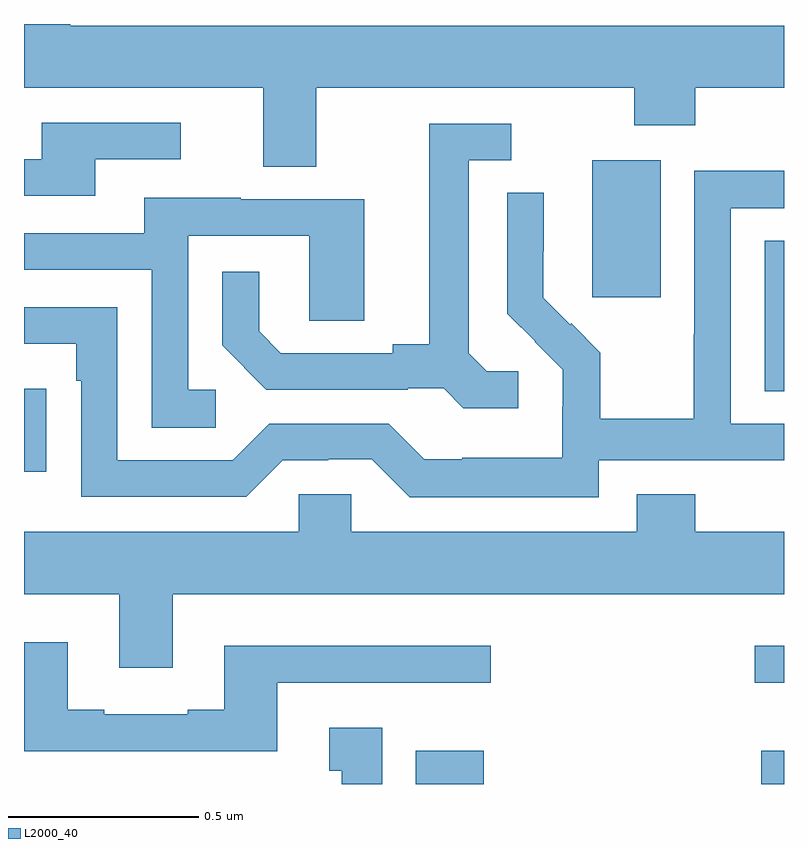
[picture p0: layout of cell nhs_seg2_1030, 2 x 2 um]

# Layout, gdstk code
import gdstk
lib = gdstk.Library(unit=1e-6, precision=1e-09)
def R(c, l, rs):  # rectangles x0, y0, x1, y1
    for r in rs: c.add(gdstk.rectangle(r[:2], r[2:], *l))
def P(c, l, *ps):  # polygons
    for p in ps: c.add(gdstk.Polygon(p, *l))
L2000_40 = (2000, 40)

nhs_seg2_1030 = lib.new_cell('nhs_seg2_1030')
R(nhs_seg2_1030, L2000_40, [(124.031,649.8,124.21,649.888), (124.94,649.8,125,649.888), (124.923,650.067,125,650.164), (123,650.622,123.059,650.84), (124.949,650.833,125,651.23), (124.496,651.081,124.675,651.442)])
P(nhs_seg2_1030, L2000_40, [(123.769,651.632),(124.606,651.632),(124.606,651.533),(124.766,651.533),(124.766,651.632),(125,651.632),(125,651.796),(123.122,651.796),(123.122,651.8),(123,651.8),(123,651.632),(123.629,651.632),(123.629,651.424),(123.769,651.424)],
  [(123.187,651.444),(123.412,651.444),(123.412,651.54),(123.047,651.54),(123.047,651.444),(123,651.444),(123,651.348),(123.187,651.348)],
  [(124.3,650.886),(124.218,650.886),(124.171,650.933),(124.171,651.441),(124.282,651.441),(124.282,651.537),(124.067,651.537),(124.067,650.957),(123.971,650.957),(123.971,650.934),(123.676,650.934),(123.619,650.991),(123.619,651.148),(123.522,651.148),(123.522,650.954),(123.638,650.838),(124.01,650.838),(124.01,650.841),(124.104,650.841),(124.156,650.789),(124.3,650.789)],
  [(124.512,650.652),(125,650.652),(125,650.748),(124.86,650.748),(124.86,651.315),(125,651.315),(125,651.414),(124.764,651.414),(124.764,650.984),(124.762,650.984),(124.762,650.761),(124.517,650.761),(124.517,650.935),(124.44,651.012),(124.437,651.009),(124.367,651.08),(124.367,651.202),(124.368,651.202),(124.368,651.356),(124.272,651.356),(124.272,651.038),(124.345,650.965),(124.344,650.964),(124.418,650.89),(124.418,650.793),(124.416,650.793),(124.416,650.659),(124.153,650.659),(124.153,650.655),(124.053,650.655),(123.96,650.748),(123.645,650.748),(123.549,650.652),(123.246,650.652),(123.246,651.054),(123,651.054),(123,650.958),(123.137,650.958),(123.137,650.861),(123.15,650.861),(123.15,650.556),(123.585,650.556),(123.681,650.652),(123.8,650.652),(123.8,650.655),(123.915,650.655),(124.015,650.555),(124.512,650.555)],
  [(123.505,650.838),(123.432,650.838),(123.432,651.243),(123.75,651.243),(123.75,651.019),(123.895,651.019),(123.895,651.339),(123.571,651.339),(123.571,651.343),(123.317,651.343),(123.317,651.249),(123,651.249),(123,651.153),(123.336,651.153),(123.336,650.737),(123.505,650.737)],
  [(123.391,650.3),(125,650.3),(125,650.464),(124.766,650.464),(124.766,650.563),(124.613,650.563),(124.613,650.464),(123.861,650.464),(123.861,650.562),(123.723,650.562),(123.723,650.464),(123,650.464),(123,650.3),(123.251,650.3),(123.251,650.106),(123.391,650.106)],
  [(123.667,650.067),(124.228,650.067),(124.228,650.164),(123.527,650.164),(123.527,649.996),(123.431,649.996),(123.431,649.983),(123.211,649.983),(123.211,649.996),(123.115,649.996),(123.115,650.173),(123,650.173),(123,649.886),(123.667,649.886)],
  [(123.943,649.948),(123.803,649.948),(123.803,649.835),(123.836,649.835),(123.836,649.8),(123.943,649.8)])

lib.write_gds('nhs_seg2_1030.gds')
